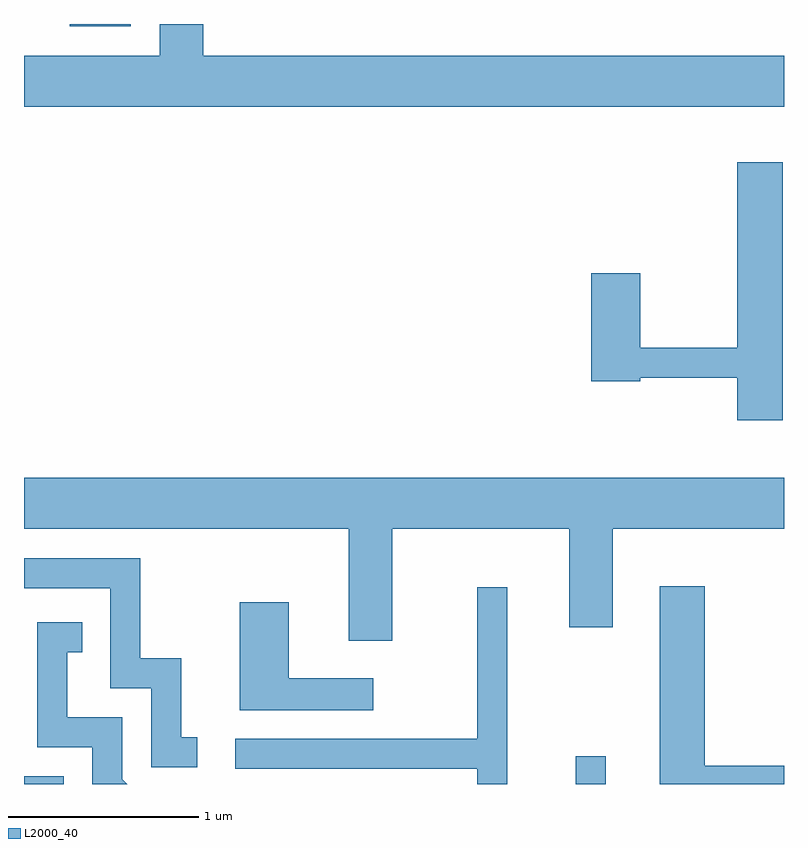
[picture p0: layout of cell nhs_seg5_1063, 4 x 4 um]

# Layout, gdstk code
import gdstk
lib = gdstk.Library(unit=1e-6, precision=1e-09)
def R(c, l, rs):  # rectangles x0, y0, x1, y1
    for r in rs: c.add(gdstk.rectangle(r[:2], r[2:], *l))
def P(c, l, *ps):  # polygons
    for p in ps: c.add(gdstk.Polygon(p, *l))
L2000_40 = (2000, 40)

nhs_seg5_1063 = lib.new_cell('nhs_seg5_1063')
R(nhs_seg5_1063, L2000_40, [(215.611,1502.072,215.819,1502.114), (218.516,1502.072,218.674,1502.218), (215.853,1506.061,216.174,1506.072)])
P(nhs_seg5_1063, L2000_40, [(219.611,1505.904),(216.554,1505.904),(216.554,1506.072),(216.326,1506.072),(216.326,1505.904),(215.611,1505.904),(215.611,1505.636),(219.611,1505.636)],
  [(219.604,1505.344),(219.366,1505.344),(219.366,1504.369),(218.854,1504.369),(218.854,1504.759),(218.596,1504.759),(218.596,1504.191),(218.854,1504.191),(218.854,1504.211),(219.366,1504.211),(219.366,1503.986),(219.604,1503.986)],
  [(217.549,1503.416),(218.481,1503.416),(218.481,1502.896),(218.709,1502.896),(218.709,1503.416),(219.611,1503.416),(219.611,1503.684),(215.611,1503.684),(215.611,1503.416),(217.321,1503.416),(217.321,1502.826),(217.549,1502.826)],
  [(216.523,1502.319),(216.439,1502.319),(216.439,1502.734),(216.224,1502.734),(216.224,1503.259),(215.611,1503.259),(215.611,1503.101),(216.066,1503.101),(216.066,1502.576),(216.281,1502.576),(216.281,1502.161),(216.523,1502.161)],
  [(219.611,1502.169),(219.194,1502.169),(219.194,1503.114),(218.956,1503.114),(218.956,1502.072),(219.611,1502.072)],
  [(218.154,1503.108),(217.996,1503.108),(217.996,1502.309),(216.723,1502.309),(216.723,1502.151),(217.996,1502.151),(217.996,1502.072),(218.154,1502.072)],
  [(217.448,1502.629),(217.004,1502.629),(217.004,1503.029),(216.746,1503.029),(216.746,1502.461),(217.448,1502.461)],
  [(216.129,1502.097),(216.129,1502.424),(215.839,1502.424),(215.839,1502.766),(215.918,1502.766),(215.918,1502.924),(215.681,1502.924),(215.681,1502.266),(215.971,1502.266),(215.971,1502.072),(216.154,1502.072)])

lib.write_gds('nhs_seg5_1063.gds')
